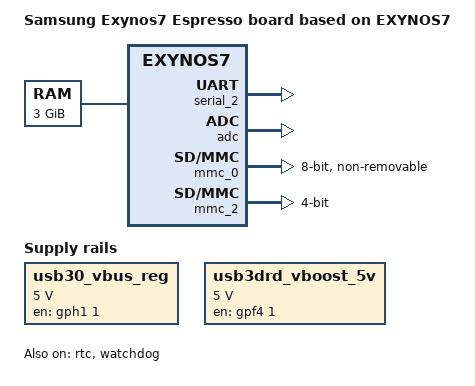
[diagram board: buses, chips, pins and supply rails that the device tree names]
/*
 * SAMSUNG Exynos7 Espresso board device tree source
 *
 * Copyright (c) 2014 Samsung Electronics Co., Ltd.
 *		http://www.samsung.com
 *
 * This program is free software; you can redistribute it and/or modify
 * it under the terms of the GNU General Public License version 2 as
 * published by the Free Software Foundation.
*/

/dts-v1/;
#include "exynos7.dtsi"

/ {
	model = "Samsung Exynos7 Espresso board based on EXYNOS7";
	compatible = "samsung,exynos7-espresso", "samsung,exynos7";

	aliases {
		serial0 = &serial_2;
		mshc0 = &mmc_0;
		mshc2 = &mmc_2;
	};

	chosen {
		linux,stdout-path = &serial_2;
		bootargs = "earlycon=exynos4210,0x14C30000 console=ttySAC0,115200 clk_ignore_unused root=/dev/ram0 ramdisk=16384 initrd=0x42000000,16M";
	};

	memory@40000000 {
		device_type = "memory";
		reg = <0x0 0x40000000 0x0 0xC0000000>;
	};

	usb30_vbus_reg: regulator-usb30 {
		compatible = "regulator-fixed";
		regulator-name = "VBUS_5V";
		regulator-min-microvolt = <5000000>;
		regulator-max-microvolt = <5000000>;
		gpio = <&gph1 1 0>;
		pinctrl-names = "default";
		pinctrl-0 = <&usb30_vbus_en>;
		enable-active-high;
	};

	usb3drd_vboost_5v: regulator-usb3drd-vboost {
		compatible = "regulator-fixed";
		regulator-name = "VUSB_VBUS_5V";
		regulator-min-microvolt = <5000000>;
		regulator-max-microvolt = <5000000>;
		gpio = <&gpf4 1 0>;
		pinctrl-names = "default";
		pinctrl-0 = <&usb3drd_vboost_en>;
		enable-active-high;
	};
};

&fin_pll {
	clock-frequency = <24000000>;
};

&serial_2 {
	status = "okay";
};

&pinctrl_bus1 {
	usb30_vbus_en: usb30-vbus-en {
		samsung,pins = "gph1-1";
		samsung,pin-function = <1>;
		samsung,pin-pud = <0>;
		samsung,pin-drv = <0>;
	};

	usb3drd_vboost_en: usb3drd-vboost-en {
		samsung,pins = "gpf4-1";
		samsung,pin-function = <1>;
		samsung,pin-pud = <0>;
		samsung,pin-drv = <0>;
	};
};

&rtc {
	status = "okay";
};

&watchdog {
	status = "okay";
};

&adc {
	status = "okay";
};

&mmc_0 {
	status = "okay";
	num-slots = <1>;
	broken-cd;
	cap-mmc-highspeed;
	non-removable;
	card-detect-delay = <200>;
	clock-frequency = <800000000>;
	samsung,dw-mshc-ciu-div = <3>;
	samsung,dw-mshc-sdr-timing = <0 4>;
	samsung,dw-mshc-ddr-timing = <0 2>;
	pinctrl-names = "default";
	pinctrl-0 = <&sd0_clk &sd0_cmd &sd0_qrdy &sd0_bus1 &sd0_bus4 &sd0_bus8>;
	bus-width = <8>;
};

&mmc_2 {
	status = "okay";
	num-slots = <1>;
	cap-sd-highspeed;
	card-detect-delay = <200>;
	clock-frequency = <400000000>;
	samsung,dw-mshc-ciu-div = <3>;
	samsung,dw-mshc-sdr-timing = <2 3>;
	samsung,dw-mshc-ddr-timing = <1 2>;
	pinctrl-names = "default";
	pinctrl-0 = <&sd2_clk &sd2_cmd &sd2_cd &sd2_bus1 &sd2_bus4>;
	bus-width = <4>;
	disable-wp;
};

&usbdrd_phy {
	vbus-supply = <&usb30_vbus_reg>;
	vbus-boost-supply = <&usb3drd_vboost_5v>;
};
